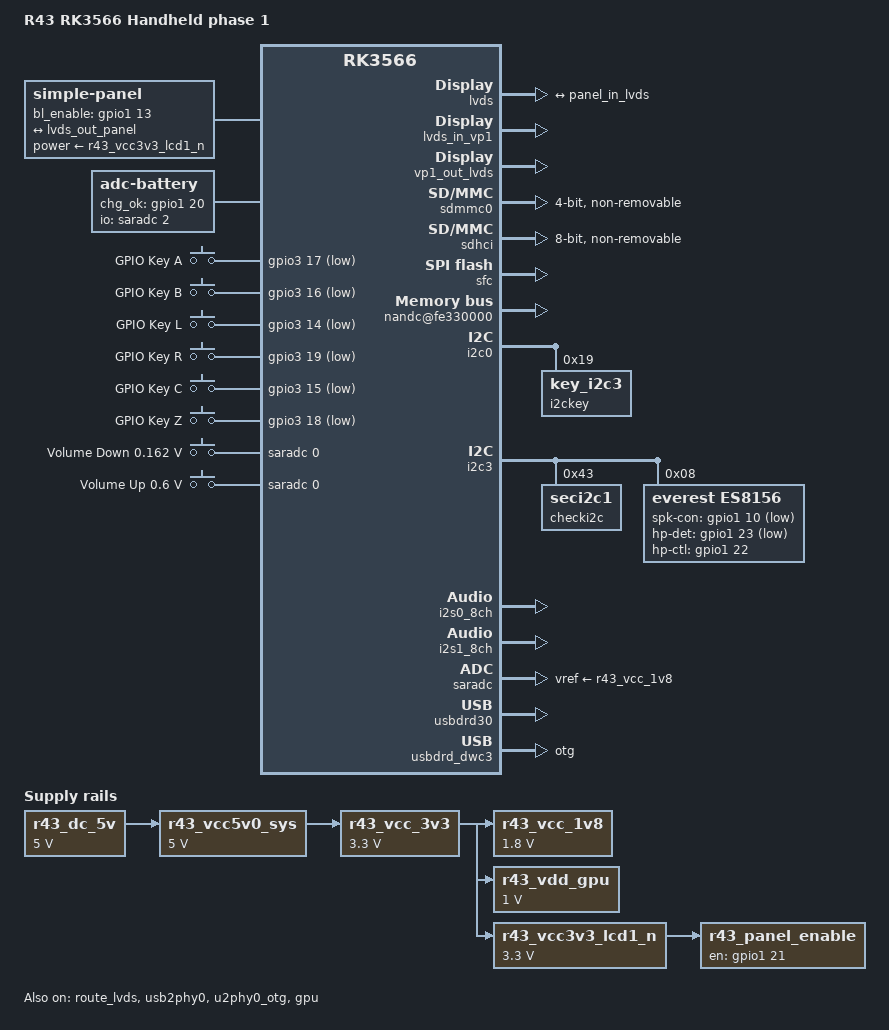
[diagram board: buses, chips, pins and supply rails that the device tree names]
// SPDX-License-Identifier: (GPL-2.0+ OR MIT)
/*
 * R43 RK3566 handheld - phase 1.1 DTS
 *
 * Base: rk3566-evb2-lp4x-v10-linux.dts from Rockchip/Firefly 5.10 BSP.
 * Overrides were derived from the decompiled original firmware DTS
 * rk3566-r43-inspect.dts.
 *
 * Goal of this phase:
 *   - keep the known-good Rockchip 5.10 EVB include stack;
 *   - remove inherited linux/rootfs bootargs;
 *   - switch the active display route to LVDS/panel like the original firmware;
 *   - match storage/MMC/I2C/audio/buttons/battery status as closely as possible;
 *   - avoid enabling risky or noisy EVB-only peripherals.
 */

/dts-v1/;

#include <dt-bindings/gpio/gpio.h>
#include <dt-bindings/input/input.h>
#include <dt-bindings/interrupt-controller/arm-gic.h>
#include <dt-bindings/power/rk3568-power.h>
#include <dt-bindings/clock/rk3568-cru.h>
#include "rk3566-evb2-lp4x-v10.dtsi"
#include "rk3568-linux.dtsi"
#include <dt-bindings/display/rockchip_vop.h>

/ {
	model = "R43 RK3566 Handheld phase 1";
	compatible = "rockchip,rk3566-r43", "rockchip,rk3566";

	/* Override bootargs inherited from rk3568-linux.dtsi. */
	chosen {
		bootargs = "";
		stdout-path = "serial2:1500000n8";
	};

	fiq-debugger {
		compatible = "rockchip,fiq-debugger";
		rockchip,serial-id = <2>;
		rockchip,wake-irq = <0>;
		rockchip,irq-mode-enable = <1>;
		rockchip,baudrate = <1500000>;
		interrupts = <0 252 8>;
		pinctrl-names = "default";
		pinctrl-0 = <&uart2m0_xfer>;
		status = "okay";
	};

	/* Fixed rails seen in the original firmware DTS. */
	r43_dc_5v: dc-5v {
		compatible = "regulator-fixed";
		regulator-name = "dc_5v";
		regulator-always-on;
		regulator-boot-on;
		regulator-min-microvolt = <5000000>;
		regulator-max-microvolt = <5000000>;
	};

	r43_vcc5v0_sys: vcc5v0-sys {
		compatible = "regulator-fixed";
		regulator-name = "vcc5v0_sys";
		regulator-always-on;
		regulator-boot-on;
		regulator-min-microvolt = <5000000>;
		regulator-max-microvolt = <5000000>;
		vin-supply = <&r43_dc_5v>;
	};

	r43_vcc_3v3: vcc_3v3 {
		compatible = "regulator-fixed";
		regulator-name = "vcc_3v3";
		regulator-always-on;
		regulator-boot-on;
		regulator-min-microvolt = <3300000>;
		regulator-max-microvolt = <3300000>;
		vin-supply = <&r43_vcc5v0_sys>;
	};

	r43_vcc_1v8: vcc_1v8 {
		compatible = "regulator-fixed";
		regulator-name = "vcc_1v8";
		regulator-always-on;
		regulator-boot-on;
		regulator-min-microvolt = <1800000>;
		regulator-max-microvolt = <1800000>;
		vin-supply = <&r43_vcc_3v3>;
	};

	r43_vdd_gpu: vdd-gpu {
		compatible = "regulator-fixed";
		regulator-name = "vdd_gpu";
		regulator-always-on;
		regulator-boot-on;
		regulator-min-microvolt = <1000000>;
		regulator-max-microvolt = <1000000>;
		vin-supply = <&r43_vcc_3v3>;
	};

	r43_vcc3v3_lcd1_n: vcc3v3-lcd1-n {
		compatible = "regulator-fixed";
		regulator-name = "vcc3v3_lcd1_n";
		regulator-boot-on;
		regulator-min-microvolt = <3300000>;
		regulator-max-microvolt = <3300000>;
		enable-active-high;
		vin-supply = <&r43_vcc_3v3>;

		regulator-state-mem {
			regulator-off-in-suspend;
		};
	};

	r43_panel_enable: panel-enable {
		compatible = "regulator-fixed";
		regulator-name = "panel_enable";
		gpio = <&gpio1 21 GPIO_ACTIVE_HIGH>;
		enable-active-high;
		regulator-always-on;
		regulator-boot-on;
		startup-delay-us = <20000>;
		vin-supply = <&r43_vcc3v3_lcd1_n>;
	};

	gpu: gpu@fde60000 {
		compatible = "rockchip,rk3568-mali", "arm,mali-bifrost";
		reg = <0x0 0xfde60000 0x0 0x4000>;

		interrupts = <0x0 0x27 0x4>,
				<0x0 0x29 0x4>,
				<0x0 0x28 0x4>;
		interrupt-names = "GPU", "MMU", "JOB";

		upthreshold = <0x28>;
		downdifferential = <0x0a>;

		clocks = <&scmi_clk 1>, <&cru 27>;
		clock-names = "clk_mali", "clk_gpu";

		power-domains = <&power 7>;
		#cooling-cells = <2>;
		operating-points-v2 = <&gpu_opp_table>;
		status = "okay";
	};

	/* Original firmware panel: simple-panel over LVDS, with two timings. */
	panel: panel {
		compatible = "simple-panel";
		power-supply = <&r43_vcc3v3_lcd1_n>;

		/* From original decompiled DTS: gpio1 PD5 active-high. */
		bl_enable-gpios = <&gpio1 13 GPIO_ACTIVE_HIGH>;
		/*
		 * Original firmware uses enable-gpios = <&gpio1 21 GPIO_ACTIVE_HIGH>.
		 * On this 5.10 bring-up that line dropped low after fbcon started, so
		 * r43_panel_enable owns it as an always-on fixed regulator for now.
		 */

		enable-delay-ms = <20>;
		prepare-delay-ms = <20>;
		unprepare-delay-ms = <20>;
		disable-delay-ms = <20>;
		bus-format = <0x100a>;
		width-mm = <105>;
		height-mm = <70>;

		display-timings {
			/* The original firmware points native-mode at timing1. */
			native-mode = <&timing1>;

			timing0: timing0 {
				clock-frequency = <68000000>;
				hactive = <800>;
				vactive = <1280>;
				hback-porch = <30>;
				hfront-porch = <30>;
				vback-porch = <4>;
				vfront-porch = <2>;
				hsync-len = <4>;
				vsync-len = <2>;
				hsync-active = <0>;
				vsync-active = <0>;
				de-active = <0>;
				pixelclk-active = <0>;
			};

			timing1: timing1 {
				clock-frequency = <11000000>;
				hactive = <480>;
				vactive = <272>;
				hback-porch = <2>;
				hfront-porch = <2>;
				vback-porch = <2>;
				vfront-porch = <2>;
				hsync-len = <41>;
				vsync-len = <10>;
				hsync-active = <0>;
				vsync-active = <0>;
				de-active = <0>;
				pixelclk-active = <1>;
			};
		};

		ports {
			#address-cells = <1>;
			#size-cells = <0>;

			port@0 {
				reg = <0>;

				panel_in_lvds: endpoint {
					remote-endpoint = <&lvds_out_panel>;
				};
			};
		};
	};

	adc-battery {
		status = "okay";
		compatible = "adc-battery";
		io-channels = <&saradc 2>;
		chg_ok_gpio = <&gpio1 20 GPIO_ACTIVE_HIGH>;
		auto_calibration = <0>;
		ref_voltage = <1800>;
		/* Raw table preserved from original firmware DTS. */
		bat_table = <0 0 0 0 14 10 3460 3556 3625 3694 3763 3832 3901 3970 4039 4108 4180 3730 3795 3848 3901 3954 4007 4060 4113 4166 4240 4280>;
		is_usb_charge = <1>;
	};

	es8156_sound: es8156-sound {
		status = "okay";
		compatible = "simple-audio-card";
		simple-audio-card,format = "i2s";
		simple-audio-card,name = "rockchip,es8156-codec";
		simple-audio-card,mclk-fs = <256>;
		simple-audio-card,widgets =
			"Microphone", "Mic Jack",
			"Headphone", "Headphone Jack";
		simple-audio-card,routing =
			"Mic Jack", "MICBIAS1",
			"IN1P", "Mic Jack",
			"Headphone Jack", "HPOL",
			"Headphone Jack", "HPOR";

		simple-audio-card,cpu {
			sound-dai = <&i2s1_8ch>;
		};

		simple-audio-card,codec {
			sound-dai = <&es8156>;
		};
	};

	/* GPIO shoulder/trigger keys from original firmware. */
	gpio_keys: gpio-keys {
		status = "okay";
		compatible = "gpio-keys";
		autorepeat;

		a_key {
			gpios = <&gpio3 17 GPIO_ACTIVE_LOW>;
			linux,code = <KEY_A>;
			label = "GPIO Key A";
			debounce-interval = <20>;
		};

		b_key {
			gpios = <&gpio3 16 GPIO_ACTIVE_LOW>;
			linux,code = <KEY_B>;
			label = "GPIO Key B";
			debounce-interval = <20>;
		};

		l_key {
			gpios = <&gpio3 14 GPIO_ACTIVE_LOW>;
			linux,code = <KEY_L>;
			label = "GPIO Key L";
			debounce-interval = <20>;
		};

		r_key {
			gpios = <&gpio3 19 GPIO_ACTIVE_LOW>;
			linux,code = <KEY_R>;
			label = "GPIO Key R";
			debounce-interval = <20>;
		};

		l2_key {
			gpios = <&gpio3 15 GPIO_ACTIVE_LOW>;
			linux,code = <KEY_C>;
			label = "GPIO Key C";
			debounce-interval = <20>;
		};

		r2_key {
			gpios = <&gpio3 18 GPIO_ACTIVE_LOW>;
			linux,code = <KEY_Z>;
			label = "GPIO Key Z";
			debounce-interval = <20>;
		};
	};

	adc_keys: adc-keys {
		compatible = "adc-keys";
		io-channels = <&saradc 0>;
		io-channel-names = "buttons";
		poll-interval = <100>;
		keyup-threshold-microvolt = <1800000>;
		autorepeat;

		vol-down {
			label = "Volume Down";
			linux,code = <KEY_VOLUMEDOWN>;
			press-threshold-microvolt = <162000>;
		};

		vol-up {
			label = "Volume Up";
			linux,code = <KEY_VOLUMEUP>;
			press-threshold-microvolt = <600000>;
		};
	};

	i2c_keys: i2c-keys {
		compatible = "i2c-keys";
		autorepeat;

		up_key {
			linux,code = <KEY_UP>;
		};

		down_key {
			linux,code = <KEY_DOWN>;
		};

		left_key {
			linux,code = <KEY_LEFT>;
		};

		right_key {
			linux,code = <KEY_RIGHT>;
		};

		a_key {
			linux,code = <KEY_A>;
		};

		b_key {
			linux,code = <KEY_B>;
		};

		x_key {
			linux,code = <KEY_X>;
		};

		y_key {
			linux,code = <KEY_Y>;
		};

		select_key {
			linux,code = <KEY_RIGHTSHIFT>;
		};

		start_key {
			linux,code = <KEY_ENTER>;
		};

		mode_key {
			linux,code = <KEY_END>;
		};

		thumbl_key {
			linux,code = <BTN_THUMBL>;
		};

		thumbr_key {
			linux,code = <BTN_THUMBR>;
		};

		l_key {
			linux,code = <KEY_L>;
		};

		r_key {
			linux,code = <KEY_R>;
		};

		l2_key {
			linux,code = <KEY_C>;
		};

		r2_key {
			linux,code = <KEY_Z>;
		};
	};
};

/* Keep the EVB cursor assignment. */
&vp0 {
	cursor-win-id = <ROCKCHIP_VOP2_CLUSTER0>;
};

/* Match the original firmware display path: VOP VP1 -> LVDS -> simple-panel. */
&route_dsi0 { status = "disabled"; };
&route_dsi1 { status = "disabled"; };
&route_edp { status = "disabled"; };
&route_hdmi { status = "disabled"; };
&route_rgb { status = "disabled"; };

&route_lvds {
	status = "okay";
	connect = <&vp1_out_lvds>;
};

&lvds {
	status = "okay";

	ports {
		#address-cells = <1>;
		#size-cells = <0>;

		port@1 {
			reg = <1>;

			lvds_out_panel: endpoint {
				remote-endpoint = <&panel_in_lvds>;
			};
		};
	};
};

&lvds_in_vp1 {
	status = "okay";
	remote-endpoint = <&vp1_out_lvds>;
};

&lvds_in_vp2 {
	status = "disabled";
};

&vp1_out_lvds {
	status = "okay";
	remote-endpoint = <&lvds_in_vp1>;
};

&vp2_out_lvds {
	status = "disabled";
};

/* Disable non-R43 display outputs for this phase. */
&dsi0 { status = "disabled"; };
&dsi1 { status = "disabled"; };
&edp { status = "disabled"; };
&hdmi { status = "disabled"; };

/* Original firmware has PCIe disabled; this also stops the boot-time PCIe spam. */
&pcie2x1 {
	status = "disabled";
};

/* The R43 handheld has no wired Ethernet PHY; disable EVB-inherited GMAC1. */
&gmac1 {
	status = "disabled";
};

&gmac_uio1 {
	status = "disabled";
};

/* Storage layout from original firmware: SD on sdmmc0, sdmmc1 disabled, eMMC/SDHCI okay, SFC okay. */
&sdmmc0 {
	status = "okay";

	/delete-property/ vmmc-supply;
	/delete-property/ vqmmc-supply;
	/delete-property/ sd-uhs-sdr12;
	/delete-property/ sd-uhs-sdr25;
	/delete-property/ sd-uhs-sdr50;
	/delete-property/ sd-uhs-sdr104;
	/delete-property/ cap-mmc-highspeed;
	/delete-property/ cd-gpios;
	/delete-property/ max-frequency;

	no-1-8-v;
	supports-sd;
	bus-width = <4>;

	cap-sd-highspeed;
	disable-wp;
	no-sdio;
	no-mmc;
	non-removable;

	pinctrl-names = "default";
	pinctrl-0 = <&sdmmc0_clk &sdmmc0_cmd &sdmmc0_bus4>;

	max-frequency = <50000000>;
};
&sdmmc1 {
	status = "disabled";
};

&sdhci {
	status = "okay";
	bus-width = <8>;
	supports-emmc;
	non-removable;
	max-frequency = <200000000>;
};

&sfc {
	status = "okay";
};

&{/nandc@fe330000} {
	status = "okay";
};

/* Original firmware: i2c1/i2c2/i2c4/i2c5 disabled; i2c3 has ES8156. */
&i2c1 { status = "disabled"; };
&i2c2 { status = "disabled"; };
&i2c4 { status = "disabled"; };
&i2c5 { status = "disabled"; };

&i2c0 {
	status = "okay";

	i2ckey@19 {
		compatible = "key_i2c3";
		reg = <0x19>;
	};
};

&i2c3 {
	status = "okay";

	/* Diagnostic node present in original firmware DTS. */
	checki2c@43 {
		compatible = "seci2c1";
		reg = <0x43>;
	};

	es8156: es8156@8 {
		#sound-dai-cells = <0>;
		compatible = "everest,es8156";
		status = "okay";
		reg = <0x08>;
		/* MCLK properties intentionally omitted for this phase: clock IDs differ in this BSP. */
		pinctrl-names = "default";
		pinctrl-0 = <&i2s1m0_mclk>;
		spk-con-gpio = <&gpio1 10 GPIO_ACTIVE_LOW>;
		hp-det-gpio = <&gpio1 23 GPIO_ACTIVE_LOW>;
		hp-ctl-gpio = <&gpio1 22 GPIO_ACTIVE_HIGH>;
	};
};

&i2s0_8ch {
	status = "okay";
};

&i2s1_8ch {
	status = "okay";
	pinctrl-names = "default";
	pinctrl-0 = <&i2s1m0_lrckrx &i2s1m0_lrcktx &i2s1m0_mclk &i2s1m0_sclktx &i2s1m0_sdi0 &i2s1m0_sdo0>;
	rockchip,clk-trcm = <1>;
};

&saradc {
	status = "okay";
	vref-supply = <&r43_vcc_1v8>;
};

&usb2phy0 {
	status = "okay";
};

&u2phy0_otg {
	status = "okay";
};

&usbdrd30 {
	status = "okay";
};

&usbdrd_dwc3 {
	dr_mode = "otg";
	status = "okay";
};

&gpu {
	compatible = "rockchip,rk3568-mali", "arm,mali-bifrost";
	mali-supply = <&r43_vdd_gpu>;
	mem-supply = <&r43_vdd_gpu>;

	interrupts = <0x0 0x27 0x4>,
		     <0x0 0x29 0x4>,
		     <0x0 0x28 0x4>;
	interrupt-names = "GPU", "MMU", "JOB";

	status = "okay";
};

&gpu_opp_table {
	/delete-property/ rockchip,low-temp;
	/delete-property/ rockchip,low-temp-adjust-volt;

	opp-200000000 {
		opp-microvolt = <1000000 1000000>;
	};

	opp-300000000 {
		opp-microvolt = <1000000 1000000>;
	};

	opp-400000000 {
		opp-microvolt = <1000000 1000000>;
	};

	opp-600000000 {
		opp-microvolt = <1000000 1000000>;
	};

	opp-700000000 {
		opp-microvolt = <1000000 1000000>;
	};

	opp-800000000 {
		opp-microvolt = <1000000 1000000>;
	};
};
